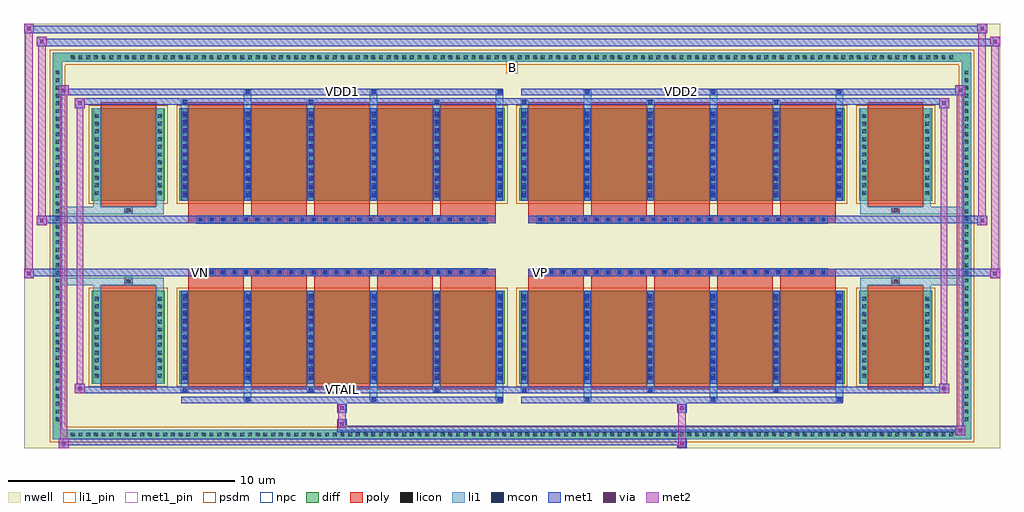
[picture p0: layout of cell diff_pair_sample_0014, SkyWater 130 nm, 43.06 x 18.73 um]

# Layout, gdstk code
import gdstk
lib = gdstk.Library(unit=1e-6, precision=5e-09)
def R(c, l, rs):  # rectangles x0, y0, x1, y1
    for r in rs: c.add(gdstk.rectangle(r[:2], r[2:], *l))
def A(c, l, x, y, w, h, nx, ny, dx, dy):  # array of equal rectangles
    R(c, l, [(x+i*dx, y+j*dy, x+i*dx+w, y+j*dy+h) for i in range(nx) for j in range(ny)])
def P(c, l, *ps):  # polygons
    for p in ps: c.add(gdstk.Polygon(p, *l))
nwell = (64, 20)
diff = (65, 20)
poly = (66, 20)
licon = (66, 44)
li1_pin = (67, 16)
li1 = (67, 20)
mcon = (67, 44)
met1_pin = (68, 16)
met1 = (68, 20)
via = (68, 44)
met2 = (69, 20)
psdm = (94, 20)
npc = (95, 20)

diff_pair_sample_0014 = lib.new_cell('diff_pair_sample_0014')
R(diff_pair_sample_0014, nwell, [(-21.53,-8.93,21.53,9.8), (-18.85,-7.12,-0.01,-0.8), (0.01,-7.12,18.85,-0.8), (-18.85,0.8,-0.01,7.12), (0.01,0.8,18.85,7.12)])
A(diff_pair_sample_0014, diff, -19.585, -8.53, 0.41, 0.41, 115, 2, 0.34, 16.65)
A(diff_pair_sample_0014, diff, -20.26, -7.855, 0.41, 0.41, 1, 46, 0, 0.34)
A(diff_pair_sample_0014, diff, 19.85, -7.855, 0.41, 0.41, 1, 46, 0, 0.34)
R(diff_pair_sample_0014, diff, [(-19.585,-8.53,19.585,-8.12), (-20.26,-7.855,-19.85,7.855), (19.85,-7.855,20.26,7.855), (-18.54,-6.075,-15.31,-1.985), (-14.67,-6.075,-0.32,-1.985), (0.32,-6.075,14.67,-1.985), (15.31,-6.075,18.54,-1.985), (-18.54,1.985,-15.31,6.075), (-14.67,1.985,-0.32,6.075), (0.32,1.985,14.67,6.075), (15.31,1.985,18.54,6.075), (-19.585,8.12,19.585,8.53)])
P(diff_pair_sample_0014, diff, [(20.26,8.53),(-20.26,8.53),(-20.26,-8.12),(-19.85,-8.12),(-19.85,8.12),(19.85,8.12),(19.85,-8.12),(-19.85,-8.12),(-20.26,-8.12),(-20.26,-8.53),(20.26,-8.53)])
A(diff_pair_sample_0014, poly, -14.28, -6.325, 2.45, 4.59, 5, 2, 2.78, 8.06)
A(diff_pair_sample_0014, poly, 0.71, -6.325, 2.45, 4.59, 5, 2, 2.78, 8.06)
A(diff_pair_sample_0014, poly, -14.28, -1.735, 2.45, 0.405, 5, 2, 2.78, 3.065)
A(diff_pair_sample_0014, poly, 0.71, -1.735, 2.45, 0.405, 5, 2, 2.78, 3.065)
A(diff_pair_sample_0014, poly, -13.91, -1.33, 0.33, 0.33, 26, 2, 0.5, 2.33)
A(diff_pair_sample_0014, poly, 1.08, -1.33, 0.33, 0.33, 26, 2, 0.5, 2.33)
R(diff_pair_sample_0014, poly, [(-18.15,-6.325,-15.7,-1.735), (15.7,-6.325,18.15,-1.735), (-17.09,-1.735,-16.76,-1.405), (-17.09,-1.735,-16.76,-1.405), (16.76,-1.735,17.09,-1.405), (16.76,-1.735,17.09,-1.405), (-14.28,-1.33,-0.71,-1), (0.71,-1.33,14.28,-1), (-14.28,1,-0.71,1.33), (0.71,1,14.28,1.33), (-17.09,1.405,-16.76,1.735), (-17.09,1.405,-16.76,1.735), (16.76,1.405,17.09,1.735), (16.76,1.405,17.09,1.735), (-18.15,1.735,-15.7,6.325), (15.7,1.735,18.15,6.325)])
A(diff_pair_sample_0014, licon, -19.465, -8.41, 0.17, 0.17, 115, 2, 0.34, 16.65)
A(diff_pair_sample_0014, licon, -20.14, -7.735, 0.17, 0.17, 1, 46, 0, 0.34)
A(diff_pair_sample_0014, licon, 19.97, -7.735, 0.17, 0.17, 1, 46, 0, 0.34)
A(diff_pair_sample_0014, licon, -18.4, -5.815, 0.17, 0.17, 1, 11, 0, 0.34)
A(diff_pair_sample_0014, licon, -15.62, -5.815, 0.17, 0.17, 1, 11, 0, 0.34)
A(diff_pair_sample_0014, licon, -14.53, -5.815, 0.17, 0.17, 6, 11, 2.78, 0.34)
A(diff_pair_sample_0014, licon, 0.46, -5.815, 0.17, 0.17, 6, 11, 2.78, 0.34)
A(diff_pair_sample_0014, licon, 15.45, -5.815, 0.17, 0.17, 1, 11, 0, 0.34)
A(diff_pair_sample_0014, licon, 18.23, -5.815, 0.17, 0.17, 1, 11, 0, 0.34)
A(diff_pair_sample_0014, licon, -13.83, -1.25, 0.17, 0.17, 26, 2, 0.5, 2.33)
A(diff_pair_sample_0014, licon, 1.16, -1.25, 0.17, 0.17, 26, 2, 0.5, 2.33)
A(diff_pair_sample_0014, licon, -18.4, 2.245, 0.17, 0.17, 1, 11, 0, 0.34)
A(diff_pair_sample_0014, licon, -15.62, 2.245, 0.17, 0.17, 1, 11, 0, 0.34)
A(diff_pair_sample_0014, licon, -14.53, 2.245, 0.17, 0.17, 6, 11, 2.78, 0.34)
A(diff_pair_sample_0014, licon, 0.46, 2.245, 0.17, 0.17, 6, 11, 2.78, 0.34)
A(diff_pair_sample_0014, licon, 15.45, 2.245, 0.17, 0.17, 1, 11, 0, 0.34)
A(diff_pair_sample_0014, licon, 18.23, 2.245, 0.17, 0.17, 1, 11, 0, 0.34)
R(diff_pair_sample_0014, licon, [(-17.01,-1.655,-16.84,-1.485), (16.84,-1.655,17.01,-1.485), (-17.01,1.485,-16.84,1.655), (16.84,1.485,17.01,1.655)])
R(diff_pair_sample_0014, li1_pin, [(-0.25,7.62,0.25,8.12)])
A(diff_pair_sample_0014, li1, -19.545, -8.49, 0.33, 0.33, 115, 2, 0.34, 16.65)
A(diff_pair_sample_0014, li1, -20.22, -7.815, 0.33, 0.33, 1, 46, 0, 0.34)
A(diff_pair_sample_0014, li1, 19.89, -7.815, 0.33, 0.33, 1, 46, 0, 0.34)
A(diff_pair_sample_0014, li1, -11.83, -6.88, 0.33, 0.805, 3, 2, 5.56, 12.955)
A(diff_pair_sample_0014, li1, -11.75, -6.88, 0.17, 0.17, 3, 2, 5.56, 13.59)
A(diff_pair_sample_0014, li1, 3.16, -6.88, 0.33, 0.805, 3, 2, 5.56, 12.955)
A(diff_pair_sample_0014, li1, 3.24, -6.88, 0.17, 0.17, 3, 2, 5.56, 13.59)
A(diff_pair_sample_0014, li1, -14.61, -6.45, 0.33, 0.375, 3, 2, 5.56, 12.525)
A(diff_pair_sample_0014, li1, -14.53, -6.45, 0.17, 0.17, 3, 2, 5.56, 12.73)
A(diff_pair_sample_0014, li1, 0.38, -6.45, 0.33, 0.375, 3, 2, 5.56, 12.525)
A(diff_pair_sample_0014, li1, 0.46, -6.45, 0.17, 0.17, 3, 2, 5.56, 12.73)
A(diff_pair_sample_0014, li1, -14.61, -6.075, 0.33, 4.09, 6, 2, 2.78, 8.06)
A(diff_pair_sample_0014, li1, 0.38, -6.075, 0.33, 4.09, 6, 2, 2.78, 8.06)
A(diff_pair_sample_0014, li1, -14.53, -5.915, 0.17, 0.17, 6, 11, 2.78, 0.36)
A(diff_pair_sample_0014, li1, -14.53, -5.915, 0.17, 3.77, 6, 2, 2.78, 8.06)
A(diff_pair_sample_0014, li1, 0.46, -5.915, 0.17, 0.17, 6, 11, 2.78, 0.36)
A(diff_pair_sample_0014, li1, 0.46, -5.915, 0.17, 3.77, 6, 2, 2.78, 8.06)
A(diff_pair_sample_0014, li1, -18.48, -5.895, 0.33, 0.33, 1, 11, 0, 0.34)
A(diff_pair_sample_0014, li1, -15.7, -5.895, 0.33, 0.33, 1, 11, 0, 0.34)
A(diff_pair_sample_0014, li1, -14.61, -5.895, 0.33, 0.33, 6, 11, 2.78, 0.34)
A(diff_pair_sample_0014, li1, 0.38, -5.895, 0.33, 0.33, 6, 11, 2.78, 0.34)
A(diff_pair_sample_0014, li1, 15.37, -5.895, 0.33, 0.33, 1, 11, 0, 0.34)
A(diff_pair_sample_0014, li1, 18.15, -5.895, 0.33, 0.33, 1, 11, 0, 0.34)
A(diff_pair_sample_0014, li1, -13.91, -1.33, 0.33, 0.33, 26, 2, 0.5, 2.33)
A(diff_pair_sample_0014, li1, 1.08, -1.33, 0.33, 0.33, 26, 2, 0.5, 2.33)
A(diff_pair_sample_0014, li1, -14.53, 2.145, 0.17, 0.17, 6, 11, 2.78, 0.36)
A(diff_pair_sample_0014, li1, 0.46, 2.145, 0.17, 0.17, 6, 11, 2.78, 0.36)
A(diff_pair_sample_0014, li1, -18.48, 2.165, 0.33, 0.33, 1, 11, 0, 0.34)
A(diff_pair_sample_0014, li1, -15.7, 2.165, 0.33, 0.33, 1, 11, 0, 0.34)
A(diff_pair_sample_0014, li1, -14.61, 2.165, 0.33, 0.33, 6, 11, 2.78, 0.34)
A(diff_pair_sample_0014, li1, 0.38, 2.165, 0.33, 0.33, 6, 11, 2.78, 0.34)
A(diff_pair_sample_0014, li1, 15.37, 2.165, 0.33, 0.33, 1, 11, 0, 0.34)
A(diff_pair_sample_0014, li1, 18.15, 2.165, 0.33, 0.33, 1, 11, 0, 0.34)
R(diff_pair_sample_0014, li1, [(-20.26,-8.53,-19.85,-8.12), (-20.26,-8.53,-19.85,-8.12), (-19.85,-8.53,19.85,-8.12), (19.85,-8.53,20.26,-8.12), (19.85,-8.53,20.26,-8.12), (-20.26,-8.12,-19.85,8.12), (19.85,-8.12,20.26,8.12), (-18.48,-6.075,-18.15,-1.985), (-15.7,-6.075,-15.37,-1.985), (15.37,-6.075,15.7,-1.985), (18.15,-6.075,18.48,-1.985), (-18.48,-1.985,-18.15,-1.405), (-15.7,-1.985,-15.37,-1.405), (15.37,-1.985,15.7,-1.405), (18.15,-1.985,18.48,-1.405), (-20.26,-1.735,-17.09,-1.405), (-18.48,-1.735,-17.09,-1.405), (-17.09,-1.735,-16.76,-1.405), (-16.76,-1.735,-15.37,-1.405), (15.37,-1.735,16.76,-1.405), (16.76,-1.735,17.09,-1.405), (16.76,-1.735,20.26,-1.405), (17.09,-1.735,18.48,-1.405), (-20.26,1.405,-17.09,1.735), (-18.48,1.405,-17.09,1.735), (-18.48,1.405,-18.15,1.985), (-17.09,1.405,-16.76,1.735), (-16.76,1.405,-15.37,1.735), (-15.7,1.405,-15.37,1.985), (15.37,1.405,16.76,1.735), (15.37,1.405,15.7,1.985), (16.76,1.405,17.09,1.735), (16.76,1.405,20.26,1.735), (17.09,1.405,18.48,1.735), (18.15,1.405,18.48,1.985), (-18.48,1.985,-18.15,6.075), (-15.7,1.985,-15.37,6.075), (15.37,1.985,15.7,6.075), (18.15,1.985,18.48,6.075), (-20.26,8.12,-19.85,8.53), (-20.26,8.12,-19.85,8.53), (-19.85,8.12,19.85,8.53), (19.85,8.12,20.26,8.53), (19.85,8.12,20.26,8.53)])
A(diff_pair_sample_0014, mcon, -11.75, -6.88, 0.17, 0.17, 3, 2, 5.56, 13.59)
A(diff_pair_sample_0014, mcon, 3.24, -6.88, 0.17, 0.17, 3, 2, 5.56, 13.59)
A(diff_pair_sample_0014, mcon, -14.53, -6.45, 0.17, 0.17, 3, 2, 5.56, 12.73)
A(diff_pair_sample_0014, mcon, 0.46, -6.45, 0.17, 0.17, 3, 2, 5.56, 12.73)
A(diff_pair_sample_0014, mcon, -14.53, -5.915, 0.17, 0.17, 6, 11, 2.78, 0.36)
A(diff_pair_sample_0014, mcon, 0.46, -5.915, 0.17, 0.17, 6, 11, 2.78, 0.36)
A(diff_pair_sample_0014, mcon, -13.83, -1.25, 0.17, 0.17, 26, 2, 0.5, 2.33)
A(diff_pair_sample_0014, mcon, 1.16, -1.25, 0.17, 0.17, 26, 2, 0.5, 2.33)
A(diff_pair_sample_0014, mcon, -14.53, 2.145, 0.17, 0.17, 6, 11, 2.78, 0.36)
A(diff_pair_sample_0014, mcon, 0.46, 2.145, 0.17, 0.17, 6, 11, 2.78, 0.36)
R(diff_pair_sample_0014, met1_pin, [(-7.63,-6.49,-7.36,-6.22), (-13.88,-1.29,-13.61,-1.02), (1.11,-1.29,1.38,-1.02), (-7.63,6.67,-7.36,6.94), (7.36,6.67,7.63,6.94)])
A(diff_pair_sample_0014, met1, -11.81, -6.94, 0.29, 0.29, 3, 2, 5.56, 13.59)
A(diff_pair_sample_0014, met1, 3.18, -6.94, 0.29, 0.29, 3, 2, 5.56, 13.59)
A(diff_pair_sample_0014, met1, -14.59, -6.51, 0.29, 0.29, 3, 2, 5.56, 12.73)
A(diff_pair_sample_0014, met1, 0.4, -6.51, 0.29, 0.29, 3, 2, 5.56, 12.73)
A(diff_pair_sample_0014, met1, -14.59, -6.075, 0.29, 4.09, 6, 2, 2.78, 8.06)
A(diff_pair_sample_0014, met1, 0.4, -6.075, 0.29, 4.09, 6, 2, 2.78, 8.06)
A(diff_pair_sample_0014, met1, -14.59, -5.975, 0.29, 0.29, 6, 11, 2.78, 0.36)
A(diff_pair_sample_0014, met1, 0.4, -5.975, 0.29, 0.29, 6, 11, 2.78, 0.36)
A(diff_pair_sample_0014, met1, -13.89, -1.31, 0.29, 0.29, 26, 2, 0.5, 2.33)
A(diff_pair_sample_0014, met1, 1.1, -1.31, 0.29, 0.29, 26, 2, 0.5, 2.33)
A(diff_pair_sample_0014, met1, -14.59, 2.085, 0.29, 0.29, 6, 11, 2.78, 0.36)
A(diff_pair_sample_0014, met1, 0.4, 2.085, 0.29, 0.29, 6, 11, 2.78, 0.36)
R(diff_pair_sample_0014, met1, [(-19.99,-8.93,-19.56,-8.5), (7.28,-8.93,7.71,-8.5), (-19.99,-8.79,7.71,-8.5), (19.56,-8.36,19.99,-7.93), (-7.71,-8.22,19.99,-7.93), (-7.71,-8.08,-7.28,-7.65), (-7.71,-7.37,-7.28,-6.94), (7.28,-7.37,7.71,-6.94), (-14.59,-6.94,-0.4,-6.65), (0.4,-6.94,14.59,-6.65), (-19.28,-6.51,-18.85,-6.08), (-19.28,-6.51,-14.59,-6.22), (-14.59,-6.51,-0.4,-6.22), (-0.4,-6.51,0.4,-6.22), (0.4,-6.51,14.59,-6.22), (14.59,-6.51,19.28,-6.22), (18.85,-6.51,19.28,-6.08), (-21.53,-1.43,-21.1,-1), (21.1,-1.43,21.53,-1), (-21.53,-1.33,-0.71,-1), (-14.28,-1.33,-0.71,-1), (0.71,-1.33,14.28,-1), (0.71,-1.33,21.53,-1), (-20.96,0.9,-20.53,1.33), (20.53,0.9,20.96,1.33), (-20.96,1,-14.28,1.33), (-14.28,1,-0.71,1.33), (0.71,1,14.28,1.33), (14.28,1,20.96,1.33), (-19.28,6.08,-18.85,6.51), (18.85,6.08,19.28,6.51), (-19.28,6.22,-14.59,6.51), (-14.59,6.22,-0.4,6.51), (-0.4,6.22,0.4,6.51), (0.4,6.22,14.59,6.51), (14.59,6.22,19.28,6.51), (-19.99,6.65,-19.56,7.08), (-19.99,6.65,-14.59,6.94), (-14.59,6.65,-0.4,6.94), (0.4,6.65,14.59,6.94), (14.59,6.65,19.99,6.94), (19.56,6.65,19.99,7.08), (-20.96,8.8,-20.53,9.23), (-20.96,8.8,-18.85,9.13), (-18.85,8.8,18.85,9.13), (18.85,8.8,21.53,9.13), (21.1,8.8,21.53,9.23), (-21.53,9.37,-21.1,9.8), (-21.53,9.37,-18.85,9.7), (-18.85,9.37,18.85,9.7), (18.85,9.37,20.96,9.7), (20.53,9.37,20.96,9.8)])
R(diff_pair_sample_0014, via, [(-19.85,-8.79,-19.7,-8.64), (7.42,-8.79,7.57,-8.64), (19.7,-8.22,19.85,-8.07), (-7.57,-7.94,-7.42,-7.79), (-7.57,-7.23,-7.42,-7.08), (7.42,-7.23,7.57,-7.08), (-19.14,-6.37,-18.99,-6.22), (18.99,-6.37,19.14,-6.22), (-21.39,-1.29,-21.24,-1.14), (21.24,-1.29,21.39,-1.14), (-20.82,1.04,-20.67,1.19), (20.67,1.04,20.82,1.19), (-19.14,6.22,-18.99,6.37), (18.99,6.22,19.14,6.37), (-19.85,6.79,-19.7,6.94), (19.7,6.79,19.85,6.94), (-20.82,8.94,-20.67,9.09), (21.24,8.94,21.39,9.09), (-21.39,9.51,-21.24,9.66), (20.67,9.51,20.82,9.66)])
R(diff_pair_sample_0014, met2, [(-19.99,-8.93,-19.56,-8.5), (-19.92,-8.93,-19.63,7.08), (-19.63,-8.93,-19.56,-8.5), (-19.94,-8.88,-19.61,-8.55), (7.33,-8.88,7.66,-8.55), (7.33,-8.55,7.66,-7.32), (19.56,-8.36,19.99,-7.93), (19.63,-8.36,19.92,7.08), (19.92,-8.36,19.99,-7.93), (19.61,-8.31,19.94,-7.98), (-7.66,-8.03,-7.33,-7.7), (-7.66,-7.7,-7.33,-7.32), (-7.66,-7.32,-7.33,-6.99), (7.33,-7.32,7.66,-6.99), (-19.28,-6.51,-18.85,-6.08), (-19.21,-6.51,-18.92,6.51), (-18.92,-6.51,-18.85,-6.08), (18.85,-6.51,19.28,-6.08), (18.92,-6.51,19.21,6.51), (19.21,-6.51,19.28,-6.08), (-19.23,-6.46,-18.9,-6.13), (18.9,-6.46,19.23,-6.13), (-21.53,-1.43,-21.1,-1), (-21.48,-1.43,-21.15,9.8), (-21.15,-1.43,-21.1,-1), (21.1,-1.43,21.53,-1), (21.15,-1.43,21.48,9.23), (21.48,-1.43,21.53,-1), (-21.48,-1.38,-21.15,-1.05), (21.15,-1.38,21.48,-1.05), (-20.96,0.9,-20.53,1.33), (-20.91,0.9,-20.58,9.23), (-20.58,0.9,-20.53,1.33), (20.53,0.9,20.96,1.33), (20.58,0.9,20.91,9.8), (20.91,0.9,20.96,1.33), (-20.91,0.95,-20.58,1.28), (20.58,0.95,20.91,1.28), (-19.28,6.08,-18.85,6.51), (-18.92,6.08,-18.85,6.51), (18.85,6.08,19.28,6.51), (19.21,6.08,19.28,6.51), (-19.23,6.13,-18.9,6.46), (18.9,6.13,19.23,6.46), (-19.99,6.65,-19.56,7.08), (-19.63,6.65,-19.56,7.08), (19.56,6.65,19.99,7.08), (19.92,6.65,19.99,7.08), (-19.94,6.7,-19.61,7.03), (19.61,6.7,19.94,7.03), (-20.96,8.8,-20.53,9.23), (-20.58,8.8,-20.53,9.23), (21.1,8.8,21.53,9.23), (21.48,8.8,21.53,9.23), (-20.91,8.85,-20.58,9.18), (21.15,8.85,21.48,9.18), (-21.53,9.37,-21.1,9.8), (-21.15,9.37,-21.1,9.8), (20.53,9.37,20.96,9.8), (20.91,9.37,20.96,9.8), (-21.48,9.42,-21.15,9.75), (20.58,9.42,20.91,9.75)])
R(diff_pair_sample_0014, psdm, [(-18.67,-6.205,-15.18,-1.855), (-14.8,-6.205,-0.19,-1.855), (0.19,-6.205,14.8,-1.855), (15.18,-6.205,18.67,-1.855), (-18.67,1.855,-15.18,6.205), (-14.8,1.855,-0.19,6.205), (0.19,1.855,14.8,6.205), (15.18,1.855,18.67,6.205)])
P(diff_pair_sample_0014, psdm, [(20.39,8.66),(-20.39,8.66),(-20.39,-7.99),(-19.72,-7.99),(-19.72,7.99),(19.72,7.99),(19.72,-7.99),(-19.72,-7.99),(-20.39,-7.99),(-20.39,-8.66),(20.39,-8.66)])
A(diff_pair_sample_0014, npc, -13.93, -1.35, 0.37, 0.37, 26, 2, 0.5, 2.33)
A(diff_pair_sample_0014, npc, 1.06, -1.35, 0.37, 0.37, 26, 2, 0.5, 2.33)
R(diff_pair_sample_0014, npc, [(-17.11,-1.755,-16.74,-1.385), (16.74,-1.755,17.11,-1.385), (-13.93,-1.35,-13.06,-0.98), (-13.93,-1.35,-13.06,-0.98), (-13.43,-1.35,-12.56,-0.98), (-13.43,-1.35,-12.56,-0.98), (-12.93,-1.35,-12.06,-0.98), (-12.93,-1.35,-12.06,-0.98), (-12.43,-1.35,-11.56,-0.98), (-12.43,-1.35,-11.56,-0.98), (-11.93,-1.35,-11.06,-0.98), (-11.93,-1.35,-11.06,-0.98), (-11.43,-1.35,-10.56,-0.98), (-11.43,-1.35,-10.56,-0.98), (-10.93,-1.35,-10.06,-0.98), (-10.93,-1.35,-10.06,-0.98), (-10.43,-1.35,-9.56,-0.98), (-10.43,-1.35,-9.56,-0.98), (-9.93,-1.35,-9.06,-0.98), (-9.93,-1.35,-9.06,-0.98), (-9.43,-1.35,-8.56,-0.98), (-9.43,-1.35,-8.56,-0.98), (-8.93,-1.35,-8.06,-0.98), (-8.93,-1.35,-8.06,-0.98), (-8.43,-1.35,-7.56,-0.98), (-8.43,-1.35,-7.56,-0.98), (-7.93,-1.35,-7.06,-0.98), (-7.93,-1.35,-7.06,-0.98), (-7.43,-1.35,-6.56,-0.98), (-7.43,-1.35,-6.56,-0.98), (-6.93,-1.35,-6.06,-0.98), (-6.93,-1.35,-6.06,-0.98), (-6.43,-1.35,-5.56,-0.98), (-6.43,-1.35,-5.56,-0.98), (-5.93,-1.35,-5.06,-0.98), (-5.93,-1.35,-5.06,-0.98), (-5.43,-1.35,-4.56,-0.98), (-5.43,-1.35,-4.56,-0.98), (-4.93,-1.35,-4.06,-0.98), (-4.93,-1.35,-4.06,-0.98), (-4.43,-1.35,-3.56,-0.98), (-4.43,-1.35,-3.56,-0.98), (-3.93,-1.35,-3.06,-0.98), (-3.93,-1.35,-3.06,-0.98), (-3.43,-1.35,-2.56,-0.98), (-3.43,-1.35,-2.56,-0.98), (-2.93,-1.35,-2.06,-0.98), (-2.93,-1.35,-2.06,-0.98), (-2.43,-1.35,-1.56,-0.98), (-2.43,-1.35,-1.56,-0.98), (-1.93,-1.35,-1.06,-0.98), (-1.93,-1.35,-1.06,-0.98), (1.06,-1.35,1.93,-0.98), (1.06,-1.35,1.93,-0.98), (1.56,-1.35,2.43,-0.98), (1.56,-1.35,2.43,-0.98), (2.06,-1.35,2.93,-0.98), (2.06,-1.35,2.93,-0.98), (2.56,-1.35,3.43,-0.98), (2.56,-1.35,3.43,-0.98), (3.06,-1.35,3.93,-0.98), (3.06,-1.35,3.93,-0.98), (3.56,-1.35,4.43,-0.98), (3.56,-1.35,4.43,-0.98), (4.06,-1.35,4.93,-0.98), (4.06,-1.35,4.93,-0.98), (4.56,-1.35,5.43,-0.98), (4.56,-1.35,5.43,-0.98), (5.06,-1.35,5.93,-0.98), (5.06,-1.35,5.93,-0.98), (5.56,-1.35,6.43,-0.98), (5.56,-1.35,6.43,-0.98), (6.06,-1.35,6.93,-0.98), (6.06,-1.35,6.93,-0.98), (6.56,-1.35,7.43,-0.98), (6.56,-1.35,7.43,-0.98), (7.06,-1.35,7.93,-0.98), (7.06,-1.35,7.93,-0.98), (7.56,-1.35,8.43,-0.98), (7.56,-1.35,8.43,-0.98), (8.06,-1.35,8.93,-0.98), (8.06,-1.35,8.93,-0.98), (8.56,-1.35,9.43,-0.98), (8.56,-1.35,9.43,-0.98), (9.06,-1.35,9.93,-0.98), (9.06,-1.35,9.93,-0.98), (9.56,-1.35,10.43,-0.98), (9.56,-1.35,10.43,-0.98), (10.06,-1.35,10.93,-0.98), (10.06,-1.35,10.93,-0.98), (10.56,-1.35,11.43,-0.98), (10.56,-1.35,11.43,-0.98), (11.06,-1.35,11.93,-0.98), (11.06,-1.35,11.93,-0.98), (11.56,-1.35,12.43,-0.98), (11.56,-1.35,12.43,-0.98), (12.06,-1.35,12.93,-0.98), (12.06,-1.35,12.93,-0.98), (12.56,-1.35,13.43,-0.98), (12.56,-1.35,13.43,-0.98), (13.06,-1.35,13.93,-0.98), (13.06,-1.35,13.93,-0.98), (-13.93,0.98,-13.06,1.35), (-13.93,0.98,-13.06,1.35), (-13.43,0.98,-12.56,1.35), (-13.43,0.98,-12.56,1.35), (-12.93,0.98,-12.06,1.35), (-12.93,0.98,-12.06,1.35), (-12.43,0.98,-11.56,1.35), (-12.43,0.98,-11.56,1.35), (-11.93,0.98,-11.06,1.35), (-11.93,0.98,-11.06,1.35), (-11.43,0.98,-10.56,1.35), (-11.43,0.98,-10.56,1.35), (-10.93,0.98,-10.06,1.35), (-10.93,0.98,-10.06,1.35), (-10.43,0.98,-9.56,1.35), (-10.43,0.98,-9.56,1.35), (-9.93,0.98,-9.06,1.35), (-9.93,0.98,-9.06,1.35), (-9.43,0.98,-8.56,1.35), (-9.43,0.98,-8.56,1.35), (-8.93,0.98,-8.06,1.35), (-8.93,0.98,-8.06,1.35), (-8.43,0.98,-7.56,1.35), (-8.43,0.98,-7.56,1.35), (-7.93,0.98,-7.06,1.35), (-7.93,0.98,-7.06,1.35), (-7.43,0.98,-6.56,1.35), (-7.43,0.98,-6.56,1.35), (-6.93,0.98,-6.06,1.35), (-6.93,0.98,-6.06,1.35), (-6.43,0.98,-5.56,1.35), (-6.43,0.98,-5.56,1.35), (-5.93,0.98,-5.06,1.35), (-5.93,0.98,-5.06,1.35), (-5.43,0.98,-4.56,1.35), (-5.43,0.98,-4.56,1.35), (-4.93,0.98,-4.06,1.35), (-4.93,0.98,-4.06,1.35), (-4.43,0.98,-3.56,1.35), (-4.43,0.98,-3.56,1.35), (-3.93,0.98,-3.06,1.35), (-3.93,0.98,-3.06,1.35), (-3.43,0.98,-2.56,1.35), (-3.43,0.98,-2.56,1.35), (-2.93,0.98,-2.06,1.35), (-2.93,0.98,-2.06,1.35), (-2.43,0.98,-1.56,1.35), (-2.43,0.98,-1.56,1.35), (-1.93,0.98,-1.06,1.35), (-1.93,0.98,-1.06,1.35), (1.06,0.98,1.93,1.35), (1.06,0.98,1.93,1.35), (1.56,0.98,2.43,1.35), (1.56,0.98,2.43,1.35), (2.06,0.98,2.93,1.35), (2.06,0.98,2.93,1.35), (2.56,0.98,3.43,1.35), (2.56,0.98,3.43,1.35), (3.06,0.98,3.93,1.35), (3.06,0.98,3.93,1.35), (3.56,0.98,4.43,1.35), (3.56,0.98,4.43,1.35), (4.06,0.98,4.93,1.35), (4.06,0.98,4.93,1.35), (4.56,0.98,5.43,1.35), (4.56,0.98,5.43,1.35), (5.06,0.98,5.93,1.35), (5.06,0.98,5.93,1.35), (5.56,0.98,6.43,1.35), (5.56,0.98,6.43,1.35), (6.06,0.98,6.93,1.35), (6.06,0.98,6.93,1.35), (6.56,0.98,7.43,1.35), (6.56,0.98,7.43,1.35), (7.06,0.98,7.93,1.35), (7.06,0.98,7.93,1.35), (7.56,0.98,8.43,1.35), (7.56,0.98,8.43,1.35), (8.06,0.98,8.93,1.35), (8.06,0.98,8.93,1.35), (8.56,0.98,9.43,1.35), (8.56,0.98,9.43,1.35), (9.06,0.98,9.93,1.35), (9.06,0.98,9.93,1.35), (9.56,0.98,10.43,1.35), (9.56,0.98,10.43,1.35), (10.06,0.98,10.93,1.35), (10.06,0.98,10.93,1.35), (10.56,0.98,11.43,1.35), (10.56,0.98,11.43,1.35), (11.06,0.98,11.93,1.35), (11.06,0.98,11.93,1.35), (11.56,0.98,12.43,1.35), (11.56,0.98,12.43,1.35), (12.06,0.98,12.93,1.35), (12.06,0.98,12.93,1.35), (12.56,0.98,13.43,1.35), (12.56,0.98,13.43,1.35), (13.06,0.98,13.93,1.35), (13.06,0.98,13.93,1.35), (-17.11,1.385,-16.74,1.755), (16.74,1.385,17.11,1.755)])
diff_pair_sample_0014.add(gdstk.Label('VTAIL', (-7.495,-6.355), layer=68, texttype=5))
diff_pair_sample_0014.add(gdstk.Label('VN', (-13.745,-1.155), layer=68, texttype=5))
diff_pair_sample_0014.add(gdstk.Label('VP', (1.245,-1.155), layer=68, texttype=5))
diff_pair_sample_0014.add(gdstk.Label('B', (0,7.87), layer=67, texttype=5))
diff_pair_sample_0014.add(gdstk.Label('VDD2', (7.495,6.805), layer=68, texttype=5))
diff_pair_sample_0014.add(gdstk.Label('VDD1', (-7.495,6.805), layer=68, texttype=5))

lib.write_gds('diff_pair_sample_0014.gds')
